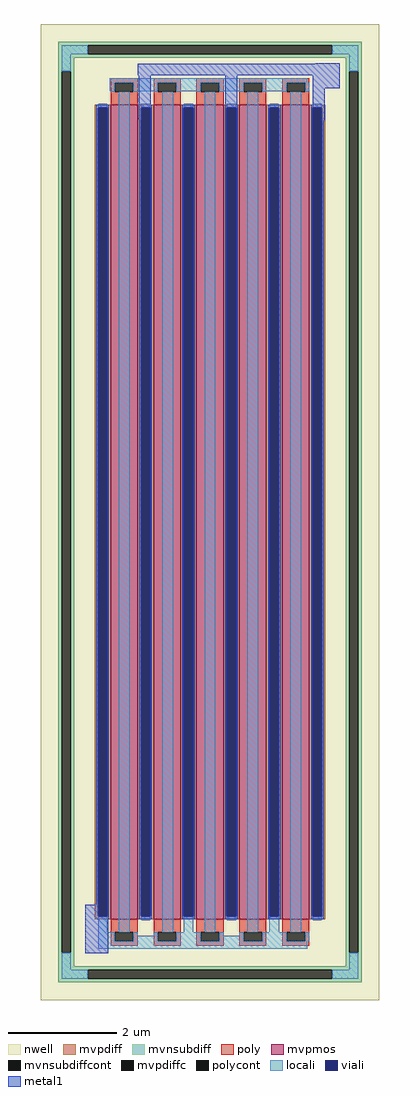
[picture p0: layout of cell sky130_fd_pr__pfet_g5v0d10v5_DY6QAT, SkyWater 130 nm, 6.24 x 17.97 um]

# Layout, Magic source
magic
tech sky130A
magscale 1 2
<< nwell >>
rect -624 -1797 624 1797
<< mvpmos >>
rect -366 -1500 -266 1500
rect -208 -1500 -108 1500
rect -50 -1500 50 1500
rect 108 -1500 208 1500
rect 266 -1500 366 1500
<< mvpdiff >>
rect -424 1488 -366 1500
rect -424 -1488 -412 1488
rect -378 -1488 -366 1488
rect -424 -1500 -366 -1488
rect -266 1488 -208 1500
rect -266 -1488 -254 1488
rect -220 -1488 -208 1488
rect -266 -1500 -208 -1488
rect -108 1488 -50 1500
rect -108 -1488 -96 1488
rect -62 -1488 -50 1488
rect -108 -1500 -50 -1488
rect 50 1488 108 1500
rect 50 -1488 62 1488
rect 96 -1488 108 1488
rect 50 -1500 108 -1488
rect 208 1488 266 1500
rect 208 -1488 220 1488
rect 254 -1488 266 1488
rect 208 -1500 266 -1488
rect 366 1488 424 1500
rect 366 -1488 378 1488
rect 412 -1488 424 1488
rect 366 -1500 424 -1488
<< mvpdiffc >>
rect -412 -1488 -378 1488
rect -254 -1488 -220 1488
rect -96 -1488 -62 1488
rect 62 -1488 96 1488
rect 220 -1488 254 1488
rect 378 -1488 412 1488
<< mvnsubdiff >>
rect -558 1719 558 1731
rect -558 1685 -450 1719
rect 450 1685 558 1719
rect -558 1673 558 1685
rect -558 1623 -500 1673
rect -558 -1623 -546 1623
rect -512 -1623 -500 1623
rect 500 1623 558 1673
rect -558 -1673 -500 -1623
rect 500 -1623 512 1623
rect 546 -1623 558 1623
rect 500 -1673 558 -1623
rect -558 -1685 558 -1673
rect -558 -1719 -450 -1685
rect 450 -1719 558 -1685
rect -558 -1731 558 -1719
<< mvnsubdiffcont >>
rect -450 1685 450 1719
rect -546 -1623 -512 1623
rect 512 -1623 546 1623
rect -450 -1719 450 -1685
<< poly >>
rect -366 1581 -266 1597
rect -366 1547 -350 1581
rect -282 1547 -266 1581
rect -366 1500 -266 1547
rect -208 1581 -108 1597
rect -208 1547 -192 1581
rect -124 1547 -108 1581
rect -208 1500 -108 1547
rect -50 1581 50 1597
rect -50 1547 -34 1581
rect 34 1547 50 1581
rect -50 1500 50 1547
rect 108 1581 208 1597
rect 108 1547 124 1581
rect 192 1547 208 1581
rect 108 1500 208 1547
rect 266 1581 366 1597
rect 266 1547 282 1581
rect 350 1547 366 1581
rect 266 1500 366 1547
rect -366 -1547 -266 -1500
rect -366 -1581 -350 -1547
rect -282 -1581 -266 -1547
rect -366 -1597 -266 -1581
rect -208 -1547 -108 -1500
rect -208 -1581 -192 -1547
rect -124 -1581 -108 -1547
rect -208 -1597 -108 -1581
rect -50 -1547 50 -1500
rect -50 -1581 -34 -1547
rect 34 -1581 50 -1547
rect -50 -1597 50 -1581
rect 108 -1547 208 -1500
rect 108 -1581 124 -1547
rect 192 -1581 208 -1547
rect 108 -1597 208 -1581
rect 266 -1547 366 -1500
rect 266 -1581 282 -1547
rect 350 -1581 366 -1547
rect 266 -1597 366 -1581
<< polycont >>
rect -350 1547 -282 1581
rect -192 1547 -124 1581
rect -34 1547 34 1581
rect 124 1547 192 1581
rect 282 1547 350 1581
rect -350 -1581 -282 -1547
rect -192 -1581 -124 -1547
rect -34 -1581 34 -1547
rect 124 -1581 192 -1547
rect 282 -1581 350 -1547
<< locali >>
rect -546 1685 -450 1719
rect 450 1685 546 1719
rect -546 1623 -512 1685
rect 512 1623 546 1685
rect -370 1581 358 1597
rect -370 1549 -350 1581
rect -366 1547 -350 1549
rect -282 1549 -192 1581
rect -282 1547 -266 1549
rect -208 1547 -192 1549
rect -124 1549 -34 1581
rect -124 1547 -108 1549
rect -50 1547 -34 1549
rect 34 1549 124 1581
rect 34 1547 50 1549
rect 108 1547 124 1549
rect 192 1549 282 1581
rect 192 1547 208 1549
rect 266 1547 282 1549
rect 350 1547 366 1581
rect -412 1488 -378 1504
rect -412 -1547 -378 -1488
rect -336 -1547 -296 1547
rect -254 1488 -220 1504
rect -254 -1504 -220 -1488
rect -176 -1547 -136 1547
rect -96 1488 -62 1504
rect -96 -1547 -62 -1488
rect -20 -1547 20 1547
rect 62 1488 96 1504
rect 62 -1504 96 -1488
rect 138 -1547 178 1547
rect 220 1488 254 1504
rect 219 -1488 220 -1471
rect 254 -1488 255 -1471
rect 219 -1547 255 -1488
rect 296 -1547 336 1547
rect 378 1488 412 1504
rect 378 -1504 412 -1488
rect -412 -1581 -350 -1547
rect -282 -1561 -266 -1547
rect -208 -1561 -192 -1547
rect -282 -1581 -192 -1561
rect -124 -1581 -34 -1547
rect 34 -1561 50 -1547
rect 108 -1561 124 -1547
rect 34 -1581 124 -1561
rect 192 -1581 282 -1547
rect 350 -1581 366 -1547
rect -412 -1609 358 -1581
rect -546 -1685 -512 -1623
rect 512 -1685 546 -1623
rect -546 -1719 -450 -1685
rect 450 -1719 546 -1685
<< viali >>
rect -412 -1488 -378 1488
rect -254 -1488 -220 1488
rect -96 -1488 -62 1488
rect 62 -1488 96 1488
rect 220 -1488 254 1488
rect 378 -1488 412 1488
<< metal1 >>
rect 388 1651 478 1653
rect -266 1609 478 1651
rect -262 1500 -218 1609
rect 56 1500 100 1609
rect 378 1561 478 1609
rect 378 1500 422 1561
rect -418 1488 -372 1500
rect -418 -1447 -412 1488
rect -460 -1488 -412 -1447
rect -378 -1488 -372 1488
rect -262 1488 -214 1500
rect -262 1447 -254 1488
rect -460 -1500 -372 -1488
rect -260 -1488 -254 1447
rect -220 -1488 -214 1488
rect -260 -1500 -214 -1488
rect -102 1488 -56 1500
rect -102 -1488 -96 1488
rect -62 -1488 -56 1488
rect -102 -1500 -56 -1488
rect 56 1488 102 1500
rect 56 -1488 62 1488
rect 96 -1488 102 1488
rect 56 -1500 102 -1488
rect 214 1488 260 1500
rect 214 -1488 220 1488
rect 254 -1488 260 1488
rect 214 -1500 260 -1488
rect 372 1488 422 1500
rect 372 -1488 378 1488
rect 412 1443 422 1488
rect 412 -1488 418 1443
rect 372 -1500 418 -1488
rect -460 -1625 -374 -1500
<< properties >>
string FIXED_BBOX -529 -1702 529 1702
string gencell sky130_fd_pr__pfet_g5v0d10v5
string library sky130
string parameters w 15 l 0.50 m 1 nf 5 diffcov 100 polycov 100 guard 1 glc 1 grc 1 gtc 1 gbc 1 tbcov 100 rlcov 100 topc 1 botc 1 poverlap 0 doverlap 1 lmin 0.50 wmin 0.42 class mosfet compatible {sky130_fd_pr__pfet_01v8  sky130_fd_pr__pfet_01v8_lvt sky130_fd_pr__pfet_01v8_hvt  sky130_fd_pr__pfet_g5v0d10v5} full_metal 1 conn_gates 0 viasrc 100 viadrn 100 viagate 100 viagb 0 viagr 0 viagl 0 viagt 0 doports 1
<< end >>
